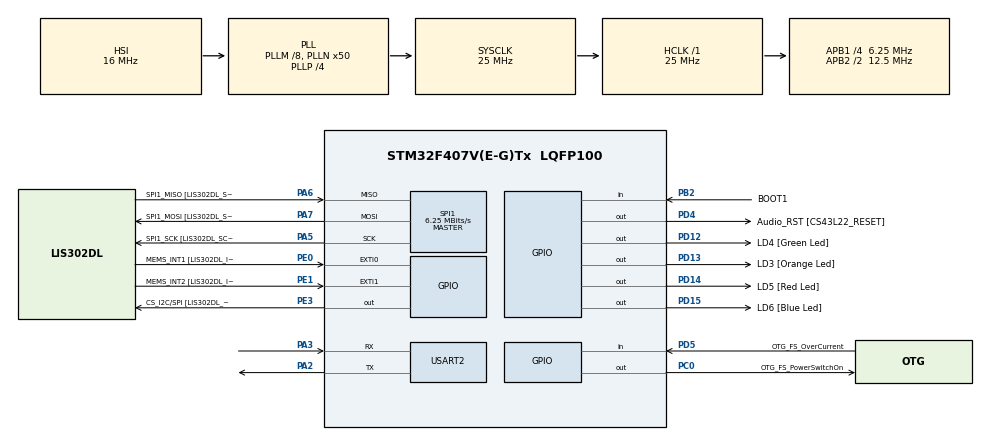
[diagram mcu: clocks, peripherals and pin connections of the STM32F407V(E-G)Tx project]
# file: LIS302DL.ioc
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Mcu.Family=STM32F4
Mcu.Name=STM32F407V(E-G)Tx
Mcu.Package=LQFP100
NVIC.PriorityGroup=NVIC_PRIORITYGROUP_0
PA10.GPIO_Label=OTG_FS_ID
PA10.GPIO_Mode=GPIO_MODE_AF_PP
PA10.GPIO_PuPd=GPIO_NOPULL
PA10.GPIO_Speed=GPIO_SPEED_FREQ_LOW
PA10.Signal=USB_OTG_FS_ID
PA11.GPIO_Label=OTG_FS_DM
PA11.GPIO_Mode=GPIO_MODE_AF_PP
PA11.GPIO_PuPd=GPIO_NOPULL
PA11.GPIO_Speed=GPIO_SPEED_FREQ_LOW
PA11.Signal=USB_OTG_FS_DM
PA12.GPIO_Label=OTG_FS_DP
PA12.GPIO_Mode=GPIO_MODE_AF_PP
PA12.GPIO_PuPd=GPIO_NOPULL
PA12.GPIO_Speed=GPIO_SPEED_FREQ_LOW
PA12.Signal=USB_OTG_FS_DP
PA13.GPIO_Label=SWDIO
PA13.Signal=SYS_JTMS-SWDIO
PA14.GPIO_Label=SWCLK
PA14.Signal=SYS_JTCK-SWCLK
PA2.Mode=Asynchronous
PA2.Signal=USART2_TX
PA3.Mode=Asynchronous
PA3.Signal=USART2_RX
PA4.GPIO_Label=I2S3_WS [CS43L22_LRCK]
PA4.GPIO_Mode=GPIO_MODE_AF_PP
PA4.GPIO_PuPd=GPIO_NOPULL
PA4.GPIO_Speed=GPIO_SPEED_FREQ_LOW
PA4.Signal=I2S3_WS
PA5.GPIO_Label=SPI1_SCK [LIS302DL_SCL/SPC]
PA5.GPIO_Mode=GPIO_MODE_AF_PP
PA5.GPIO_PuPd=GPIO_NOPULL
PA5.GPIO_Speed=GPIO_SPEED_FREQ_LOW
PA5.Mode=Full_Duplex_Master
PA5.Signal=SPI1_SCK
PA6.GPIO_Label=SPI1_MISO [LIS302DL_SDO]
PA6.GPIO_Mode=GPIO_MODE_AF_PP
PA6.GPIO_PuPd=GPIO_NOPULL
PA6.GPIO_Speed=GPIO_SPEED_FREQ_LOW
PA6.Mode=Full_Duplex_Master
PA6.Signal=SPI1_MISO
PA7.GPIO_Label=SPI1_MOSI [LIS302DL_SDA/SDI/SDO]
PA7.GPIO_Mode=GPIO_MODE_AF_PP
PA7.GPIO_PuPd=GPIO_NOPULL
PA7.GPIO_Speed=GPIO_SPEED_FREQ_LOW
PA7.Mode=Full_Duplex_Master
PA7.Signal=SPI1_MOSI
PA9.GPIO_Label=VBUS_FS
PA9.GPIO_Mode=GPIO_MODE_INPUT
PA9.GPIO_PuPd=GPIO_NOPULL
PA9.Signal=USB_OTG_FS_VBUS
PB10.GPIO_Label=CLK_IN [MP45DT02_CLK]
PB10.GPIO_Mode=GPIO_MODE_AF_PP
PB10.GPIO_PuPd=GPIO_NOPULL
PB10.GPIO_Speed=GPIO_SPEED_FREQ_LOW
PB10.Signal=I2S2_CK
PB2.GPIO_Label=BOOT1
PB2.GPIO_Mode=GPIO_MODE_INPUT
PB2.GPIO_PuPd=GPIO_NOPULL
PB2.Signal=GPIO_Input
PB3.GPIO_Label=SWO
PB3.Signal=SYS_JTDO-SWO
PB6.GPIO_Label=Audio_SCL [CS43L22_SCL]
PB6.GPIO_Mode=GPIO_MODE_AF_OD
PB6.GPIO_PuPd=GPIO_NOPULL
PB6.GPIO_Speed=GPIO_SPEED_FREQ_LOW
PB6.Signal=I2C1_SCL
PB9.GPIO_Label=Audio_SDA [CS43L22_SDA]
PB9.GPIO_Mode=GPIO_MODE_AF_OD
PB9.GPIO_PuPd=GPIO_NOPULL
PB9.GPIO_Speed=GPIO_SPEED_FREQ_LOW
PB9.Signal=I2C1_SDA
PC0.GPIO_Label=OTG_FS_PowerSwitchOn
PC0.GPIO_PuPd=GPIO_NOPULL
PC0.GPIO_Speed=GPIO_SPEED_FREQ_LOW
PC0.PinState=GPIO_PIN_SET
PC0.Signal=GPIO_Output
PC10.GPIO_Label=I2S3_SCK [CS43L22_SCLK]
PC10.GPIO_Mode=GPIO_MODE_AF_PP
PC10.GPIO_PuPd=GPIO_NOPULL
PC10.GPIO_Speed=GPIO_SPEED_FREQ_LOW
PC10.Signal=I2S3_CK
PC12.GPIO_Label=I2S3_SD [CS43L22_SDIN]
PC12.GPIO_Mode=GPIO_MODE_AF_PP
PC12.GPIO_PuPd=GPIO_NOPULL
PC12.GPIO_Speed=GPIO_SPEED_FREQ_LOW
PC12.Signal=I2S3_SD
PC14-OSC32_IN.GPIO_Label=PC14-OSC32_IN
PC14-OSC32_IN.Signal=RCC_OSC32_IN
PC15-OSC32_OUT.GPIO_Label=PC15-OSC32_OUT
PC15-OSC32_OUT.Signal=RCC_OSC32_OUT
PC3.GPIO_Label=PDM_OUT [MP45DT02_DOUT]
PC3.GPIO_Mode=GPIO_MODE_AF_PP
PC3.GPIO_PuPd=GPIO_NOPULL
PC3.GPIO_Speed=GPIO_SPEED_FREQ_LOW
PC3.Signal=I2S2_SD
PC7.GPIO_Label=I2S3_MCK [CS43L22_MCLK]
PC7.GPIO_Mode=GPIO_MODE_AF_PP
PC7.GPIO_PuPd=GPIO_NOPULL
PC7.GPIO_Speed=GPIO_SPEED_FREQ_LOW
PC7.Signal=I2S3_MCK
PD12.GPIO_Label=LD4 [Green Led]
PD12.GPIO_PuPd=GPIO_NOPULL
PD12.GPIO_Speed=GPIO_SPEED_FREQ_LOW
PD12.Signal=GPIO_Output
PD13.GPIO_Label=LD3 [Orange Led]
PD13.GPIO_PuPd=GPIO_NOPULL
PD13.GPIO_Speed=GPIO_SPEED_FREQ_LOW
PD13.Signal=GPIO_Output
PD14.GPIO_Label=LD5 [Red Led]
PD14.GPIO_PuPd=GPIO_NOPULL
PD14.GPIO_Speed=GPIO_SPEED_FREQ_LOW
PD14.Signal=GPIO_Output
PD15.GPIO_Label=LD6 [Blue Led]
PD15.GPIO_PuPd=GPIO_NOPULL
PD15.GPIO_Speed=GPIO_SPEED_FREQ_LOW
PD15.Signal=GPIO_Output
PD4.GPIO_Label=Audio_RST [CS43L22_RESET]
PD4.GPIO_PuPd=GPIO_NOPULL
PD4.GPIO_Speed=GPIO_SPEED_FREQ_LOW
PD4.Signal=GPIO_Output
PD5.GPIO_Label=OTG_FS_OverCurrent
PD5.GPIO_Mode=GPIO_MODE_INPUT
PD5.GPIO_PuPd=GPIO_NOPULL
PD5.Signal=GPIO_Input
PE0.GPIO_Label=MEMS_INT1 [LIS302DL_INT1]
PE0.Signal=GPXTI0
PE1.GPIO_Label=MEMS_INT2 [LIS302DL_INT2]
PE1.GPIO_ModeDefaultEXTI=GPIO_MODE_EVT_RISING
PE1.GPIO_PuPd=GPIO_NOPULL
PE1.Signal=GPXTI1
PE3.GPIO_Label=CS_I2C/SPI [LIS302DL_CS_I2C/SPI]
PE3.GPIO_PuPd=GPIO_NOPULL
PE3.GPIO_Speed=GPIO_SPEED_FREQ_LOW
PE3.Signal=GPIO_Output
PH0-OSC_IN.GPIO_Label=PH0-OSC_IN
PH0-OSC_IN.Signal=RCC_OSC_IN
PH1-OSC_OUT.GPIO_Label=PH1-OSC_OUT
PH1-OSC_OUT.Signal=RCC_OSC_OUT
ProjectManager.HeapSize=0x200
ProjectManager.StackSize=0x400
ProjectManager.TargetToolchain=SW4STM32
RCC.48MHZClocksFreq_Value=14285714.285714285
RCC.AHBFreq_Value=25000000
RCC.APB1CLKDivider=RCC_HCLK_DIV4
RCC.APB1Freq_Value=6250000
RCC.APB1TimFreq_Value=12500000
RCC.APB2CLKDivider=RCC_HCLK_DIV2
RCC.APB2Freq_Value=12500000
RCC.APB2TimFreq_Value=25000000
RCC.CortexFreq_Value=25000000
RCC.HCLKFreq_Value=25000000
RCC.HSE_VALUE=8000000
RCC.HSI_VALUE=16000000
RCC.LSE_VALUE=32768
RCC.PLLM=8
RCC.PLLN=50
RCC.PLLP=RCC_PLLP_DIV4
RCC.PLLQ=7
RCC.SYSCLKFreq_VALUE=25000000
RCC.SYSCLKSource=RCC_SYSCLKSOURCE_PLLCLK
RCC.VCOOutputFreq_Value=100000000
SPI1.CalculateBaudRate=6.25 MBits/s
SPI1.Mode=SPI_MODE_MASTER
board=STM32F407G-DISC1

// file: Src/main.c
/**
 ******************************************************************************
 * File Name          : main.c
 * Description        : Main program body
 ******************************************************************************
 *
 * COPYRIGHT(c) 2559 STMicroelectronics
 *
 * Redistribution and use in source and binary forms, with or without modification,
 * are permitted provided that the following conditions are met:
 *   1. Redistributions of source code must retain the above copyright notice,
 *      this list of conditions and the following disclaimer.
 *   2. Redistributions in binary form must reproduce the above copyright notice,
 *      this list of conditions and the following disclaimer in the documentation
 *      and/or other materials provided with the distribution.
 *   3. Neither the name of STMicroelectronics nor the names of its contributors
 *      may be used to endorse or promote products derived from this software
 *      without specific prior written permission.
 *
 * THIS SOFTWARE IS PROVIDED BY THE COPYRIGHT HOLDERS AND CONTRIBUTORS "AS IS"
 * AND ANY EXPRESS OR IMPLIED WARRANTIES, INCLUDING, BUT NOT LIMITED TO, THE
 * IMPLIED WARRANTIES OF MERCHANTABILITY AND FITNESS FOR A PARTICULAR PURPOSE ARE
 * DISCLAIMED. IN NO EVENT SHALL THE COPYRIGHT HOLDER OR CONTRIBUTORS BE LIABLE
 * FOR ANY DIRECT, INDIRECT, INCIDENTAL, SPECIAL, EXEMPLARY, OR CONSEQUENTIAL
 * DAMAGES (INCLUDING, BUT NOT LIMITED TO, PROCUREMENT OF SUBSTITUTE GOODS OR
 * SERVICES; LOSS OF USE, DATA, OR PROFITS; OR BUSINESS INTERRUPTION) HOWEVER
 * CAUSED AND ON ANY THEORY OF LIABILITY, WHETHER IN CONTRACT, STRICT LIABILITY,
 * OR TORT (INCLUDING NEGLIGENCE OR OTHERWISE) ARISING IN ANY WAY OUT OF THE USE
 * OF THIS SOFTWARE, EVEN IF ADVISED OF THE POSSIBILITY OF SUCH DAMAGE.
 *
 ******************************************************************************
 */
#include "main.h"
#include "stm32f4xx_hal.h"

SPI_HandleTypeDef hspi1;

UART_HandleTypeDef huart2;

/* USER CODE BEGIN PV */
/* Private variables ---------------------------------------------------------*/

/* USER CODE END PV */

void SystemClock_Config(void);
void Error_Handler(void);
static void MX_GPIO_Init(void);
static void MX_SPI1_Init(void);
static void MX_USART2_UART_Init(void);

/* USER CODE BEGIN PFP */
/* Private function prototypes -----------------------------------------------*/

/* USER CODE END PFP */

int main(void) {

	/* MCU Configuration----------------------------------------------------------*/

	/* Reset of all peripherals, Initializes the Flash interface and the Systick. */
	HAL_Init();

	/* Configure the system clock */
	SystemClock_Config();

	/* Initialize all configured peripherals */
	MX_GPIO_Init();
	MX_SPI1_Init();
	MX_USART2_UART_Init();

	/* USER CODE BEGIN 2 */
	uint8_t address;
	uint8_t data;
	int8_t x, y, z = 0;

	HAL_GPIO_WritePin(GPIOE, GPIO_PIN_3, GPIO_PIN_RESET); //reset CS...

	//set CTRL_REG1
	address = 0x20;
	HAL_SPI_Transmit(&hspi1, &address, 1, 50);
	data = 0x67;
	HAL_SPI_Transmit(&hspi1, &data, 1, 50);

	HAL_GPIO_WritePin(GPIOE, GPIO_PIN_3, GPIO_PIN_SET); //set CS...
	/* USER CODE END 2 */

	/* Infinite loop */
	while (1) {

		/* USER CODE BEGIN 3 */
		HAL_GPIO_WritePin(GPIOE, GPIO_PIN_3, GPIO_PIN_RESET); //reset CS...

		// x-axis...
		address = 0x29 + 0x80;
		HAL_SPI_Transmit(&hspi1, &address, 1, 50);
		HAL_SPI_Receive(&hspi1, &x, 1, 50);

		// y-axis...
		address = 0x2B + 0x80;
		HAL_SPI_Transmit(&hspi1, &address, 1, 50);
		HAL_SPI_Receive(&hspi1, &y, 1, 50);

		// z-axis...
		address = 0x2D + 0x80;
		HAL_SPI_Transmit(&hspi1, &address, 1, 50);
		HAL_SPI_Receive(&hspi1, &z, 1, 50);

		// calculate to -+2g format...
		int16_t xxx = (x * 9.8 * (4000.0 / 127) / 1000.0);
		int16_t yyy = (y * 9.8 * (4000.0 / 127) / 1000.0);
		int16_t zzz = (z * 9.8 * (4000.0 / 127) / 1000.0);

		//upside down...
		if (z <= -30) {
			HAL_GPIO_WritePin(GPIOD, GPIO_PIN_12, GPIO_PIN_SET);
			HAL_GPIO_WritePin(GPIOD, GPIO_PIN_13, GPIO_PIN_SET);
			HAL_GPIO_WritePin(GPIOD, GPIO_PIN_14, GPIO_PIN_SET);
			HAL_GPIO_WritePin(GPIOD, GPIO_PIN_15, GPIO_PIN_SET);
			HAL_Delay(500);
			HAL_GPIO_WritePin(GPIOD, GPIO_PIN_12, GPIO_PIN_RESET);
			HAL_GPIO_WritePin(GPIOD, GPIO_PIN_13, GPIO_PIN_RESET);
			HAL_GPIO_WritePin(GPIOD, GPIO_PIN_14, GPIO_PIN_RESET);
			HAL_GPIO_WritePin(GPIOD, GPIO_PIN_15, GPIO_PIN_RESET);
			HAL_Delay(10);
		} else {
			//UP
			if (y >= 15)
				HAL_GPIO_WritePin(GPIOD, GPIO_PIN_13, GPIO_PIN_SET);
			else
				HAL_GPIO_WritePin(GPIOD, GPIO_PIN_13, GPIO_PIN_RESET);
			//DOWN
			if (y <= -15)
				HAL_GPIO_WritePin(GPIOD, GPIO_PIN_15, GPIO_PIN_SET);
			else
				HAL_GPIO_WritePin(GPIOD, GPIO_PIN_15, GPIO_PIN_RESET);
			//LEFT
			if (x <= -15)
				HAL_GPIO_WritePin(GPIOD, GPIO_PIN_12, GPIO_PIN_SET);
			else
				HAL_GPIO_WritePin(GPIOD, GPIO_PIN_12, GPIO_PIN_RESET);
			//RIGHT
			if (x >= 15)
				HAL_GPIO_WritePin(GPIOD, GPIO_PIN_14, GPIO_PIN_SET);
			else
				HAL_GPIO_WritePin(GPIOD, GPIO_PIN_14, GPIO_PIN_RESET);

		}

		HAL_GPIO_WritePin(GPIOE, GPIO_PIN_3, GPIO_PIN_SET); //set CS...

		char outx[20];
		char outy[20];
		char outz[20];

		// keep int into charector...
		itoa(xxx, outx, 10);
		itoa(yyy, outy, 10);
		itoa(zzz, outz, 10);

		int i = 0, j = 0, k = 0;

		HAL_UART_Transmit(&huart2, (uint8_t*) "X = ", 4, 100000);
		while (outx[i] != '\0') {
			HAL_UART_Transmit(&huart2, &outx[i], 1, 10000);
			i++;
		}

		HAL_UART_Transmit(&huart2, (uint8_t*) "\n\r", 2, 100000);

		HAL_UART_Transmit(&huart2, (uint8_t*) "Y = ", 4, 100000);
		while (outy[j] != '\0') {
			HAL_UART_Transmit(&huart2, &outy[j], 1, 10000);
			j++;
		}

		HAL_UART_Transmit(&huart2, (uint8_t*) "\n\r", 2, 100000);

		HAL_UART_Transmit(&huart2, (uint8_t*) "Z = ", 4, 100000);
		while (outz[k] != '\0') {
			HAL_UART_Transmit(&huart2, &outz[k], 1, 10000);
			k++;
		}
		HAL_UART_Transmit(&huart2, (uint8_t*) "\n\r", 2, 100000);
		HAL_Delay(500);
	}
	/* USER CODE END 3 */

}

/** System Clock Configuration
 */
void SystemClock_Config(void) {

	RCC_OscInitTypeDef RCC_OscInitStruct;
	RCC_ClkInitTypeDef RCC_ClkInitStruct;

	/**Configure the main internal regulator output voltage
	 */
	__HAL_RCC_PWR_CLK_ENABLE()
	;

	__HAL_PWR_VOLTAGESCALING_CONFIG(PWR_REGULATOR_VOLTAGE_SCALE1);

	/**Initializes the CPU, AHB and APB busses clocks
	 */
	RCC_OscInitStruct.OscillatorType = RCC_OSCILLATORTYPE_HSI;
	RCC_OscInitStruct.HSIState = RCC_HSI_ON;
	RCC_OscInitStruct.HSICalibrationValue = 16;
	RCC_OscInitStruct.PLL.PLLState = RCC_PLL_ON;
	RCC_OscInitStruct.PLL.PLLSource = RCC_PLLSOURCE_HSI;
	RCC_OscInitStruct.PLL.PLLM = 8;
	RCC_OscInitStruct.PLL.PLLN = 50;
	RCC_OscInitStruct.PLL.PLLP = RCC_PLLP_DIV4;
	RCC_OscInitStruct.PLL.PLLQ = 7;
	if (HAL_RCC_OscConfig(&RCC_OscInitStruct) != HAL_OK) {
		Error_Handler();
	}

	/**Initializes the CPU, AHB and APB busses clocks
	 */
	RCC_ClkInitStruct.ClockType = RCC_CLOCKTYPE_HCLK | RCC_CLOCKTYPE_SYSCLK
			| RCC_CLOCKTYPE_PCLK1 | RCC_CLOCKTYPE_PCLK2;
	RCC_ClkInitStruct.SYSCLKSource = RCC_SYSCLKSOURCE_PLLCLK;
	RCC_ClkInitStruct.AHBCLKDivider = RCC_SYSCLK_DIV1;
	RCC_ClkInitStruct.APB1CLKDivider = RCC_HCLK_DIV4;
	RCC_ClkInitStruct.APB2CLKDivider = RCC_HCLK_DIV2;

	if (HAL_RCC_ClockConfig(&RCC_ClkInitStruct, FLASH_LATENCY_0) != HAL_OK) {
		Error_Handler();
	}

	/**Configure the Systick interrupt time
	 */
	HAL_SYSTICK_Config(HAL_RCC_GetHCLKFreq() / 1000);

	/**Configure the Systick
	 */
	HAL_SYSTICK_CLKSourceConfig(SYSTICK_CLKSOURCE_HCLK);

	/* SysTick_IRQn interrupt configuration */
	HAL_NVIC_SetPriority(SysTick_IRQn, 0, 0);
}

/* SPI1 init function */
static void MX_SPI1_Init(void) {

	hspi1.Instance = SPI1;
	hspi1.Init.Mode = SPI_MODE_MASTER;
	hspi1.Init.Direction = SPI_DIRECTION_2LINES;
	hspi1.Init.DataSize = SPI_DATASIZE_8BIT;
	hspi1.Init.CLKPolarity = SPI_POLARITY_LOW;
	hspi1.Init.CLKPhase = SPI_PHASE_1EDGE;
	hspi1.Init.NSS = SPI_NSS_SOFT;
	hspi1.Init.BaudRatePrescaler = SPI_BAUDRATEPRESCALER_2;
	hspi1.Init.FirstBit = SPI_FIRSTBIT_MSB;
	hspi1.Init.TIMode = SPI_TIMODE_DISABLE;
	hspi1.Init.CRCCalculation = SPI_CRCCALCULATION_DISABLE;
	hspi1.Init.CRCPolynomial = 10;
	if (HAL_SPI_Init(&hspi1) != HAL_OK) {
		Error_Handler();
	}

}

/* USART2 init function */
static void MX_USART2_UART_Init(void) {

	huart2.Instance = USART2;
	huart2.Init.BaudRate = 115200;
	huart2.Init.WordLength = UART_WORDLENGTH_8B;
	huart2.Init.StopBits = UART_STOPBITS_1;
	huart2.Init.Parity = UART_PARITY_NONE;
	huart2.Init.Mode = UART_MODE_TX_RX;
	huart2.Init.HwFlowCtl = UART_HWCONTROL_NONE;
	huart2.Init.OverSampling = UART_OVERSAMPLING_16;
	if (HAL_UART_Init(&huart2) != HAL_OK) {
		Error_Handler();
	}

}

/** Configure pins as
 * Analog
 * Input
 * Output
 * EVENT_OUT
 * EXTI
 PC3   ------> I2S2_SD
 PA4   ------> I2S3_WS
 PB10   ------> I2S2_CK
 PC7   ------> I2S3_MCK
 PA9   ------> USB_OTG_FS_VBUS
 PA10   ------> USB_OTG_FS_ID
 PA11   ------> USB_OTG_FS_DM
 PA12   ------> USB_OTG_FS_DP
 PC10   ------> I2S3_CK
 PC12   ------> I2S3_SD
 PB6   ------> I2C1_SCL
 PB9   ------> I2C1_SDA
 */
static void MX_GPIO_Init(void) {

	GPIO_InitTypeDef GPIO_InitStruct;

	/* GPIO Ports Clock Enable */
	__HAL_RCC_GPIOE_CLK_ENABLE()
	;
	__HAL_RCC_GPIOC_CLK_ENABLE()
	;
	__HAL_RCC_GPIOH_CLK_ENABLE()
	;
	__HAL_RCC_GPIOA_CLK_ENABLE()
	;
	__HAL_RCC_GPIOB_CLK_ENABLE()
	;
	__HAL_RCC_GPIOD_CLK_ENABLE()
	;

	/*Configure GPIO pin Output Level */
	HAL_GPIO_WritePin(CS_I2C_SPI_GPIO_Port, CS_I2C_SPI_Pin, GPIO_PIN_RESET);

	/*Configure GPIO pin Output Level */
	HAL_GPIO_WritePin(OTG_FS_PowerSwitchOn_GPIO_Port, OTG_FS_PowerSwitchOn_Pin,
			GPIO_PIN_SET);

	/*Configure GPIO pin Output Level */
	HAL_GPIO_WritePin(GPIOD,
	LD4_Pin | LD3_Pin | LD5_Pin | LD6_Pin | Audio_RST_Pin, GPIO_PIN_RESET);

	/*Configure GPIO pin : CS_I2C_SPI_Pin */
	GPIO_InitStruct.Pin = CS_I2C_SPI_Pin;
	GPIO_InitStruct.Mode = GPIO_MODE_OUTPUT_PP;
	GPIO_InitStruct.Pull = GPIO_NOPULL;
	GPIO_InitStruct.Speed = GPIO_SPEED_FREQ_LOW;
	HAL_GPIO_Init(CS_I2C_SPI_GPIO_Port, &GPIO_InitStruct);

	/*Configure GPIO pin : OTG_FS_PowerSwitchOn_Pin */
	GPIO_InitStruct.Pin = OTG_FS_PowerSwitchOn_Pin;
	GPIO_InitStruct.Mode = GPIO_MODE_OUTPUT_PP;
	GPIO_InitStruct.Pull = GPIO_NOPULL;
	GPIO_InitStruct.Speed = GPIO_SPEED_FREQ_LOW;
	HAL_GPIO_Init(OTG_FS_PowerSwitchOn_GPIO_Port, &GPIO_InitStruct);

	/*Configure GPIO pin : PDM_OUT_Pin */
	GPIO_InitStruct.Pin = PDM_OUT_Pin;
	GPIO_InitStruct.Mode = GPIO_MODE_AF_PP;
	GPIO_InitStruct.Pull = GPIO_NOPULL;
	GPIO_InitStruct.Speed = GPIO_SPEED_FREQ_LOW;
	GPIO_InitStruct.Alternate = GPIO_AF5_SPI2;
	HAL_GPIO_Init(PDM_OUT_GPIO_Port, &GPIO_InitStruct);

	/*Configure GPIO pin : PA4 */
	GPIO_InitStruct.Pin = GPIO_PIN_4;
	GPIO_InitStruct.Mode = GPIO_MODE_AF_PP;
	GPIO_InitStruct.Pull = GPIO_NOPULL;
	GPIO_InitStruct.Speed = GPIO_SPEED_FREQ_LOW;
	GPIO_InitStruct.Alternate = GPIO_AF6_SPI3;
	HAL_GPIO_Init(GPIOA, &GPIO_InitStruct);

	/*Configure GPIO pin : BOOT1_Pin */
	GPIO_InitStruct.Pin = BOOT1_Pin;
	GPIO_InitStruct.Mode = GPIO_MODE_INPUT;
	GPIO_InitStruct.Pull = GPIO_NOPULL;
	HAL_GPIO_Init(BOOT1_GPIO_Port, &GPIO_InitStruct);

	/*Configure GPIO pin : CLK_IN_Pin */
	GPIO_InitStruct.Pin = CLK_IN_Pin;
	GPIO_InitStruct.Mode = GPIO_MODE_AF_PP;
	GPIO_InitStruct.Pull = GPIO_NOPULL;
	GPIO_InitStruct.Speed = GPIO_SPEED_FREQ_LOW;
	GPIO_InitStruct.Alternate = GPIO_AF5_SPI2;
	HAL_GPIO_Init(CLK_IN_GPIO_Port, &GPIO_InitStruct);

	/*Configure GPIO pins : LD4_Pin LD3_Pin LD5_Pin LD6_Pin
	 Audio_RST_Pin */
	GPIO_InitStruct.Pin = LD4_Pin | LD3_Pin | LD5_Pin | LD6_Pin | Audio_RST_Pin;
	GPIO_InitStruct.Mode = GPIO_MODE_OUTPUT_PP;
	GPIO_InitStruct.Pull = GPIO_NOPULL;
	GPIO_InitStruct.Speed = GPIO_SPEED_FREQ_LOW;
	HAL_GPIO_Init(GPIOD, &GPIO_InitStruct);

	/*Configure GPIO pins : PC7 I2S3_SCK_Pin PC12 */
	GPIO_InitStruct.Pin = GPIO_PIN_7 | I2S3_SCK_Pin | GPIO_PIN_12;
	GPIO_InitStruct.Mode = GPIO_MODE_AF_PP;
	GPIO_InitStruct.Pull = GPIO_NOPULL;
	GPIO_InitStruct.Speed = GPIO_SPEED_FREQ_LOW;
	GPIO_InitStruct.Alternate = GPIO_AF6_SPI3;
	HAL_GPIO_Init(GPIOC, &GPIO_InitStruct);

	/*Configure GPIO pin : VBUS_FS_Pin */
	GPIO_InitStruct.Pin = VBUS_FS_Pin;
	GPIO_InitStruct.Mode = GPIO_MODE_INPUT;
	GPIO_InitStruct.Pull = GPIO_NOPULL;
	HAL_GPIO_Init(VBUS_FS_GPIO_Port, &GPIO_InitStruct);

	/*Configure GPIO pins : OTG_FS_ID_Pin OTG_FS_DM_Pin OTG_FS_DP_Pin */
	GPIO_InitStruct.Pin = OTG_FS_ID_Pin | OTG_FS_DM_Pin | OTG_FS_DP_Pin;
	GPIO_InitStruct.Mode = GPIO_MODE_AF_PP;
	GPIO_InitStruct.Pull = GPIO_NOPULL;
	GPIO_InitStruct.Speed = GPIO_SPEED_FREQ_LOW;
	GPIO_InitStruct.Alternate = GPIO_AF10_OTG_FS;
	HAL_GPIO_Init(GPIOA, &GPIO_InitStruct);

	/*Configure GPIO pin : OTG_FS_OverCurrent_Pin */
	GPIO_InitStruct.Pin = OTG_FS_OverCurrent_Pin;
	GPIO_InitStruct.Mode = GPIO_MODE_INPUT;
	GPIO_InitStruct.Pull = GPIO_NOPULL;
	HAL_GPIO_Init(OTG_FS_OverCurrent_GPIO_Port, &GPIO_InitStruct);

	/*Configure GPIO pins : Audio_SCL_Pin Audio_SDA_Pin */
	GPIO_InitStruct.Pin = Audio_SCL_Pin | Audio_SDA_Pin;
	GPIO_InitStruct.Mode = GPIO_MODE_AF_OD;
	GPIO_InitStruct.Pull = GPIO_PULLUP;
	GPIO_InitStruct.Speed = GPIO_SPEED_FREQ_LOW;
	GPIO_InitStruct.Alternate = GPIO_AF4_I2C1;
	HAL_GPIO_Init(GPIOB, &GPIO_InitStruct);

	/*Configure GPIO pin : MEMS_INT1_Pin */
	GPIO_InitStruct.Pin = MEMS_INT1_Pin;
	GPIO_InitStruct.Mode = GPIO_MODE_IT_RISING;
	GPIO_InitStruct.Pull = GPIO_NOPULL;
	HAL_GPIO_Init(MEMS_INT1_GPIO_Port, &GPIO_InitStruct);

	/*Configure GPIO pin : MEMS_INT2_Pin */
	GPIO_InitStruct.Pin = MEMS_INT2_Pin;
	GPIO_InitStruct.Mode = GPIO_MODE_EVT_RISING;
	GPIO_InitStruct.Pull = GPIO_NOPULL;
	HAL_GPIO_Init(MEMS_INT2_GPIO_Port, &GPIO_InitStruct);

}

void Error_Handler(void) {
	while (1) {
	}
}

/************************ (C) COPYRIGHT STMicroelectronics *****END OF FILE****/
